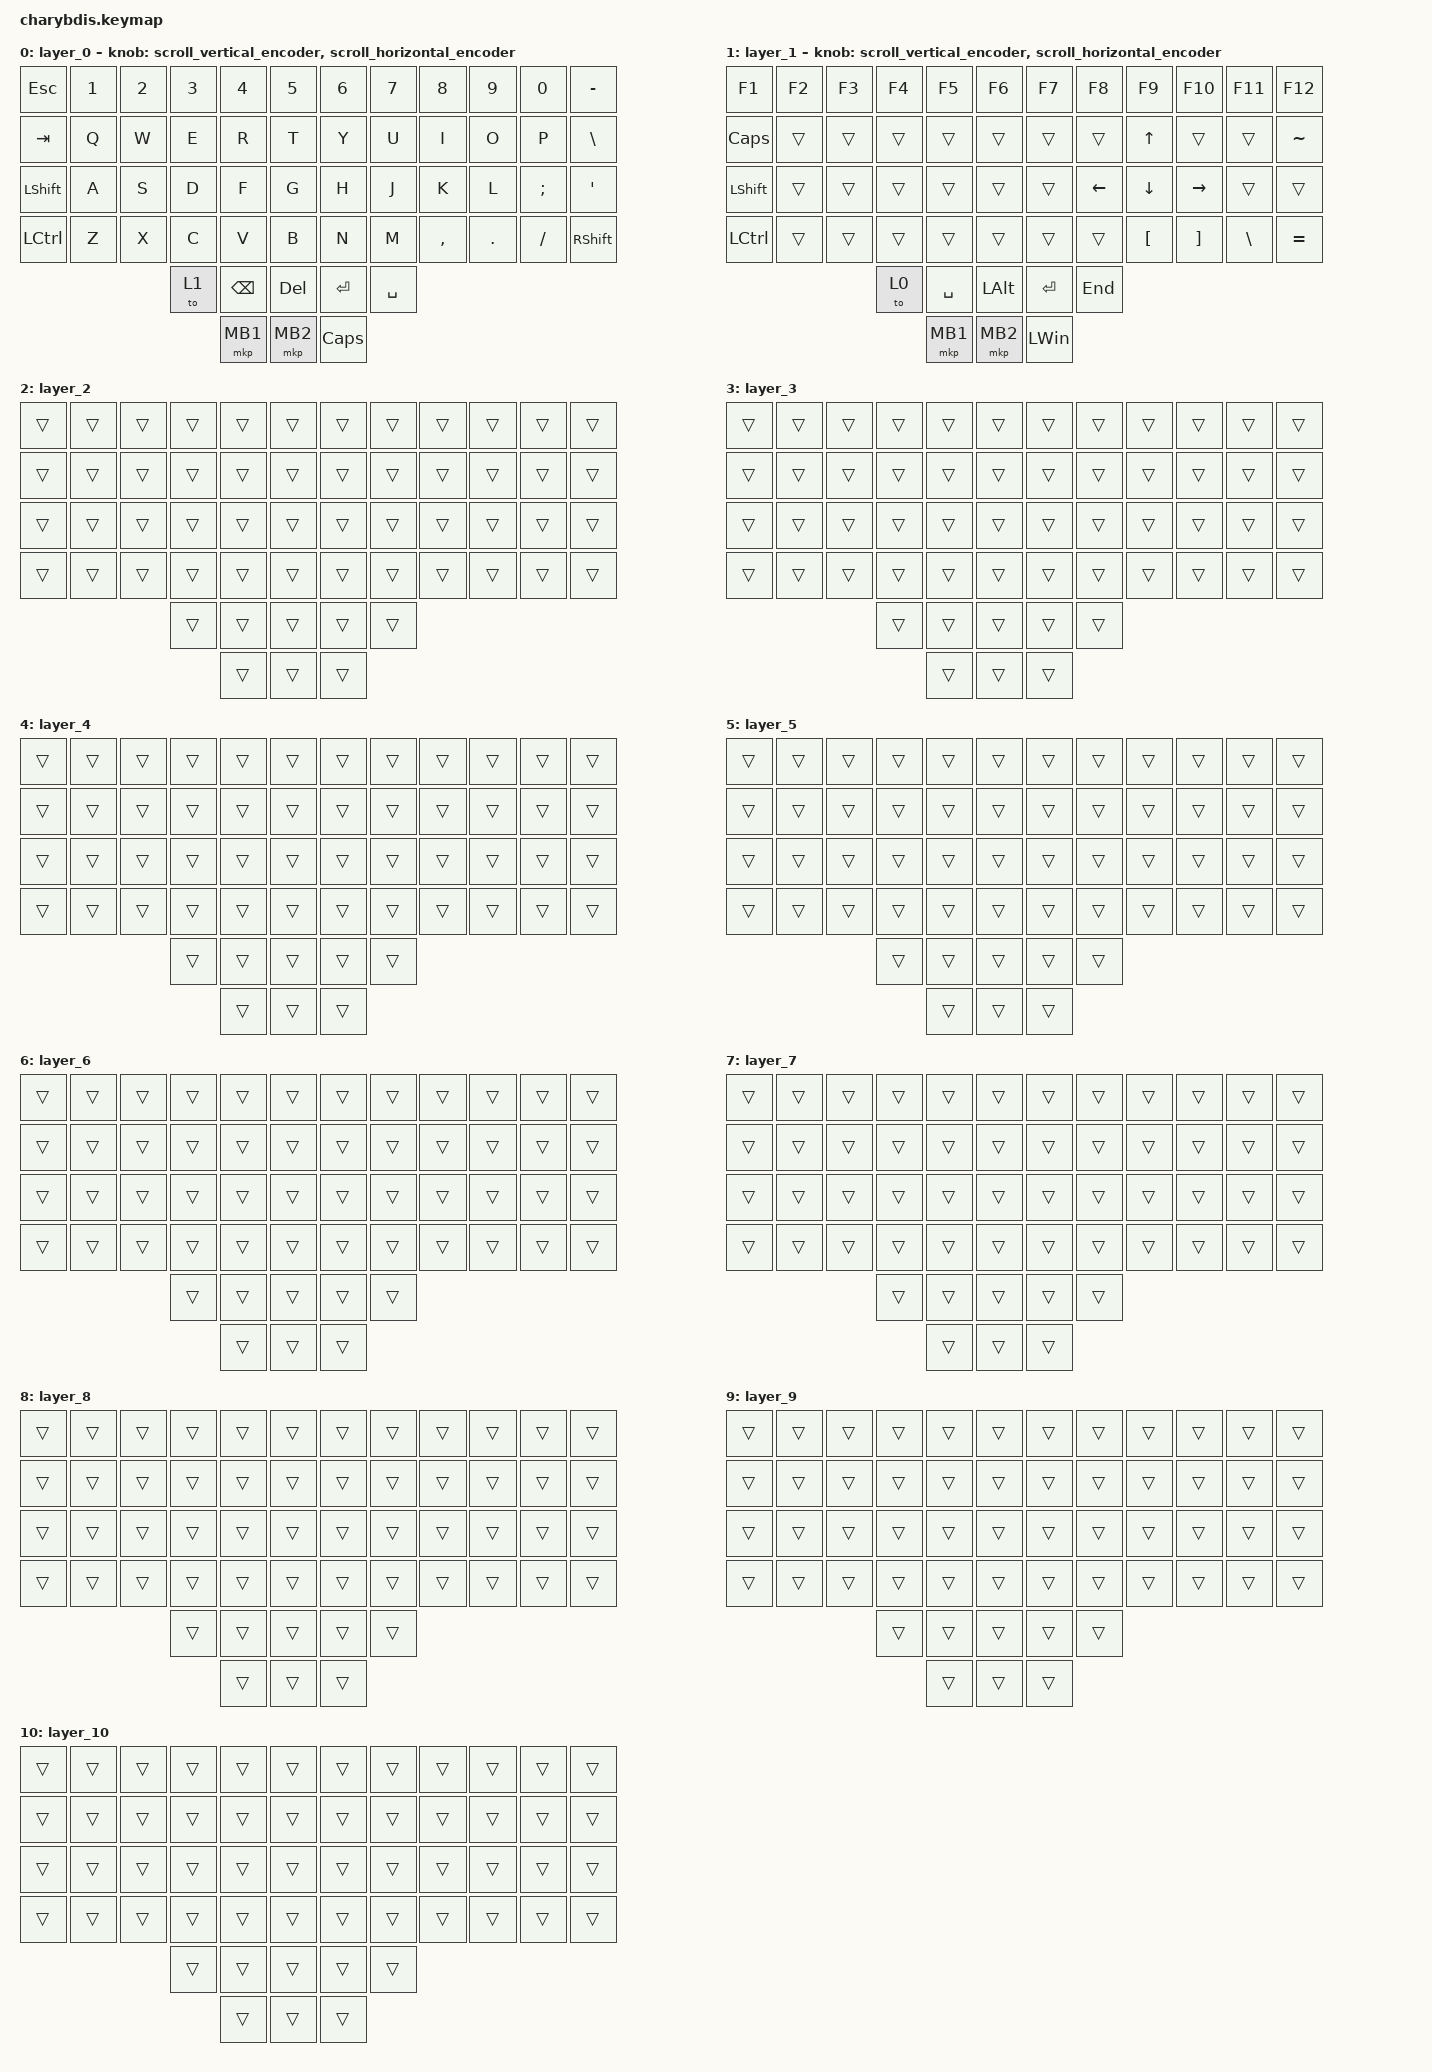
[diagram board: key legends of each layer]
#include <dt-bindings/zmk/mouse.h>
#include <input/processors.dtsi>
#include <zephyr/dt-bindings/input/input-event-codes.h>
#include <behaviors.dtsi>
#include <dt-bindings/zmk/bt.h>
#include <dt-bindings/zmk/keys.h>
#include <dt-bindings/zmk/pointing.h>
#include <dt-bindings/zmk/rgb.h>

#define ZMK_POINTING_DEFAULT_MOVE_VAL 1000 // 600
#define ZMK_POINTING_DEFAULT_SCRL_VAL 12   // 10

/ {
    combos {
        compatible = "zmk,combos";
        combo_mmb {
            timeout-ms = <50>;
            key-positions = <53 54>;
            bindings = <&mkp MB3>;
        };
    };
};

&lt {
    tapping-term-ms = <200>;
    flavor = "balanced";
    quick-tap-ms = <150>;
};

&mmv_input_listener { input-processors = <&zip_xy_scaler 2 1>; };

&msc_input_listener { input-processors = <&zip_scroll_scaler 2 1>; };

&msc {
    acceleration-exponent = <0>;      // 0
    time-to-max-speed-ms = <100>;       // 300
    delay-ms = <0>;                   // 0
};

&mmv {
    time-to-max-speed-ms = <500>;
    acceleration-exponent = <1>;
    trigger-period-ms = <16>;
};

/ {
    // 上下滚动编码器行为

    scroll_vertical_encoder: scroll_vertical_encoder {
        compatible = "zmk,behavior-sensor-rotate";
        #sensor-binding-cells = <0>;
        bindings = <&msc SCRL_DOWN>, <&msc SCRL_UP>;

        tap-ms = <100>;
    };

    // 左右滚动编码器行为

    scroll_horizontal_encoder: scroll_horizontal_encoder {
        compatible = "zmk,behavior-sensor-rotate";
        #sensor-binding-cells = <0>;
        bindings = <&msc SCRL_LEFT>, <&msc SCRL_RIGHT>;

        tap-ms = <100>;
    };

    behaviors {
    };

    macros {
        To1_macro: To1_macro {
            compatible = "zmk,behavior-macro";
            label = "To1_macro";
            #binding-cells = <0>;
            bindings = <&rgb_ug RGB_EFF &rgb_ug RGB_COLOR_HSB(128,100,50) &to 1>;
        };

        To1_macro_A: To1_macro_A {
            compatible = "zmk,behavior-macro";
            label = "To1_macro_A";
            #binding-cells = <0>;
            bindings = <&rgb_ug RGB_COLOR_HSB(128,100,50) &to 1>;
        };

        To0_macro: To0_macro {
            compatible = "zmk,behavior-macro";
            label = "To0_macro";
            #binding-cells = <0>;
            bindings = <&rgb_ug RGB_EFR &to 0>;
        };

        To2_macro_A: To2_macro_A {
            compatible = "zmk,behavior-macro";
            label = "To2_macro_A";
            #binding-cells = <0>;
            bindings = <&rgb_ug RGB_COLOR_HSB(250,100,50) &to 2>;
        };

        To2_macro: To2_macro {
            compatible = "zmk,behavior-macro";
            label = "To2_macro";
            #binding-cells = <0>;
            bindings = <&rgb_ug RGB_EFF &rgb_ug RGB_COLOR_HSB(250,100,50) &to 2>;
        };
    };

    keymap {
        compatible = "zmk,keymap";

        layer_0 {
            bindings = <
&kp ESC         &kp N1  &kp N2  &kp N3     &kp N4         &kp N5      &kp N6     &kp N7     &kp N8     &kp N9      &kp N0    &kp MINUS
&kp TAB         &kp Q   &kp W   &kp E      &kp R          &kp T       &kp Y      &kp U      &kp I      &kp O       &kp P     &kp BSLH
&kp LEFT_SHIFT  &kp A   &kp S   &kp D      &kp F          &kp G       &kp H      &kp J      &kp K      &kp L       &kp SEMI  &kp SQT
&kp LCTRL       &kp Z   &kp X   &kp C      &kp V          &kp B       &kp N      &kp M      &kp COMMA  &kp PERIOD  &kp FSLH  &kp RIGHT_SHIFT
                                &to 1      &kp BACKSPACE  &kp DEL     &kp ENTER  &kp SPACE
                                           &mkp MB1       &mkp MB2    &kp CAPS
            >;

            sensor-bindings =
                <&scroll_vertical_encoder>,
                // 编码器1：上下滚动,,
                <&scroll_horizontal_encoder>;

            // 编码器2：左右滚动
        };

        layer_1 {
            bindings = <
&kp F1          &kp F2  &kp F3  &kp F4  &kp F5     &kp F6           &kp F7     &kp F8     &kp F9            &kp F10            &kp F11     &kp F12
&kp CAPS        &trans  &trans  &trans  &trans     &trans           &trans     &trans     &kp UP            &trans             &trans      &kp TILDE
&kp LEFT_SHIFT  &trans  &trans  &trans  &trans     &trans           &trans     &kp LEFT   &kp DOWN          &kp RIGHT          &trans      &trans
&kp LCTRL       &trans  &trans  &trans  &trans     &trans           &trans     &trans     &kp LEFT_BRACKET  &kp RIGHT_BRACKET  &kp BSLH    &kp EQUAL
                                &to 0   &kp SPACE  &kp LEFT_ALT     &kp ENTER  &kp END
                                        &mkp MB1   &mkp MB2         &kp LWIN
            >;
            sensor-bindings =
                <&scroll_vertical_encoder>,
                // 编码器1：上下滚动,,
                <&scroll_horizontal_encoder>;

        };

        layer_2 {
            bindings = <
&trans  &trans  &trans  &trans  &trans  &trans    &trans  &trans  &trans  &trans  &trans  &trans
&trans  &trans  &trans  &trans  &trans  &trans     &trans  &trans  &trans  &trans  &trans  &trans
&trans  &trans  &trans  &trans  &trans  &trans     &trans  &trans  &trans  &trans  &trans  &trans
&trans  &trans  &trans  &trans  &trans  &trans    &trans  &trans  &trans  &trans  &trans  &trans
                        &trans  &trans  &trans    &trans  &trans
                                &trans  &trans    &trans
            >;
        };

        layer_3 {
            bindings = <
&trans  &trans  &trans  &trans  &trans  &trans    &trans  &trans  &trans  &trans  &trans  &trans
&trans  &trans  &trans  &trans  &trans  &trans    &trans  &trans  &trans  &trans  &trans  &trans
&trans  &trans  &trans  &trans  &trans  &trans    &trans  &trans  &trans  &trans  &trans  &trans
&trans  &trans  &trans  &trans  &trans  &trans    &trans  &trans  &trans  &trans  &trans  &trans
                        &trans  &trans  &trans    &trans  &trans
                                &trans  &trans    &trans
            >;
        };

        layer_4 {
            bindings = <
&trans  &trans  &trans  &trans  &trans  &trans    &trans  &trans  &trans  &trans  &trans  &trans
&trans  &trans  &trans  &trans  &trans  &trans    &trans  &trans  &trans  &trans  &trans  &trans
&trans  &trans  &trans  &trans  &trans  &trans    &trans  &trans  &trans  &trans  &trans  &trans
&trans  &trans  &trans  &trans  &trans  &trans    &trans  &trans  &trans  &trans  &trans  &trans
                        &trans  &trans  &trans    &trans  &trans
                                &trans  &trans    &trans
            >;
        };

        layer_5 {
            bindings = <
&trans  &trans  &trans  &trans  &trans  &trans    &trans  &trans  &trans  &trans  &trans  &trans
&trans  &trans  &trans  &trans  &trans  &trans    &trans  &trans  &trans  &trans  &trans  &trans
&trans  &trans  &trans  &trans  &trans  &trans    &trans  &trans  &trans  &trans  &trans  &trans
&trans  &trans  &trans  &trans  &trans  &trans    &trans  &trans  &trans  &trans  &trans  &trans
                        &trans  &trans  &trans    &trans  &trans
                                &trans  &trans    &trans
            >;
        };

        layer_6 {
            bindings = <
&trans  &trans  &trans  &trans  &trans  &trans    &trans  &trans  &trans  &trans  &trans  &trans
&trans  &trans  &trans  &trans  &trans  &trans    &trans  &trans  &trans  &trans  &trans  &trans
&trans  &trans  &trans  &trans  &trans  &trans    &trans  &trans  &trans  &trans  &trans  &trans
&trans  &trans  &trans  &trans  &trans  &trans    &trans  &trans  &trans  &trans  &trans  &trans
                        &trans  &trans  &trans    &trans  &trans
                                &trans  &trans    &trans
            >;
        };

        layer_7 {
            bindings = <
&trans  &trans  &trans  &trans  &trans  &trans    &trans  &trans  &trans  &trans  &trans  &trans
&trans  &trans  &trans  &trans  &trans  &trans    &trans  &trans  &trans  &trans  &trans  &trans
&trans  &trans  &trans  &trans  &trans  &trans    &trans  &trans  &trans  &trans  &trans  &trans
&trans  &trans  &trans  &trans  &trans  &trans    &trans  &trans  &trans  &trans  &trans  &trans
                        &trans  &trans  &trans    &trans  &trans
                                &trans  &trans    &trans
            >;
        };

        layer_8 {
            bindings = <
&trans  &trans  &trans  &trans  &trans  &trans    &trans  &trans  &trans  &trans  &trans  &trans
&trans  &trans  &trans  &trans  &trans  &trans    &trans  &trans  &trans  &trans  &trans  &trans
&trans  &trans  &trans  &trans  &trans  &trans    &trans  &trans  &trans  &trans  &trans  &trans
&trans  &trans  &trans  &trans  &trans  &trans    &trans  &trans  &trans  &trans  &trans  &trans
                        &trans  &trans  &trans    &trans  &trans
                                &trans  &trans    &trans
            >;
        };

        layer_9 {
            bindings = <
&trans  &trans  &trans  &trans  &trans  &trans    &trans  &trans  &trans  &trans  &trans  &trans
&trans  &trans  &trans  &trans  &trans  &trans    &trans  &trans  &trans  &trans  &trans  &trans
&trans  &trans  &trans  &trans  &trans  &trans    &trans  &trans  &trans  &trans  &trans  &trans
&trans  &trans  &trans  &trans  &trans  &trans    &trans  &trans  &trans  &trans  &trans  &trans
                        &trans  &trans  &trans    &trans  &trans
                                &trans  &trans    &trans
            >;
        };

        layer_10 {
            bindings = <
&trans  &trans  &trans  &trans  &trans  &trans    &trans  &trans  &trans  &trans  &trans  &trans
&trans  &trans  &trans  &trans  &trans  &trans    &trans  &trans  &trans  &trans  &trans  &trans
&trans  &trans  &trans  &trans  &trans  &trans    &trans  &trans  &trans  &trans  &trans  &trans
&trans  &trans  &trans  &trans  &trans  &trans    &trans  &trans  &trans  &trans  &trans  &trans
                        &trans  &trans  &trans    &trans  &trans
                                &trans  &trans    &trans
            >;
        };

        /* layer_2 {
            bindings = <
&trans  &trans   &trans    &trans   &trans         &trans         &kp N1         &trans         &trans     &trans  &trans   &to 0
&trans  &trans   &trans    &trans   &trans         &trans         &trans         &trans          &rgb_ug RGB_BRD &rgb_ug RGB_BRI  &rgb_ug RGB_EFF   &rgb_ug RGB_TOG
&trans  &trans   &trans    &trans   &trans         &trans         &trans         &mkp LCLK     &mkp RCLK  &trans  &trans   &trans
&trans  &trans   &trans    &trans   &bt BT_NXT  &bt BT_CLR    &trans         &trans         &trans     &trans  &trans   &trans
                                   &trans         &trans         &trans         &trans         &trans
                                                 &trans         &trans         &trans
            >;
       
            
        };

       Mouse {
            bindings = <
&trans        &trans         &trans         &trans         &trans      &trans         &trans       &trans      &trans         &trans         &trans         &trans
&trans        &bt BT_SEL 0  &bt BT_SEL 1  &bt BT_SEL 3  &trans      &bt BT_CLR    &bt BT_CLR  &trans      &bt BT_SEL 2  &bt BT_SEL 1  &bt BT_SEL 0  &trans
&trans        &trans        &trans        &mkp MCLK     &trans     &trans         &trans       &trans     &mkp MCLK     &trans        &trans        &trans
&bootloader  &trans        &mkp RCLK     &mo 4         &mkp LCLK  &mo 5         &mo 5       &mkp LCLK  &mo 4         &mkp RCLK     &trans        &bootloader
                                         &mo 5         &mkp LCLK  &mkp RCLK     &mkp RCLK   &mkp LCLK
                                                       &trans      &trans        &trans
            >;

            
        };

        layer_4 {
            bindings = <
&trans  &trans  &trans     &trans     &trans     &trans       &trans     &trans     &trans     &trans     &trans  &trans
&trans  &trans  &trans     &trans     &trans     &trans       &trans     &trans     &trans     &trans     &trans  &trans
&trans  &trans  &trans     &mkp MCLK  &trans     &trans       &trans     &trans     &mkp MCLK  &trans     &trans  &trans
&trans  &trans  &mkp RCLK  &trans     &mkp LCLK  &trans       &trans     &mkp LCLK  &trans     &mkp RCLK  &trans  &trans
                           &trans     &mkp LCLK  &mkp RCLK    &mkp RCLK  &mkp LCLK
                                      &trans     &trans       &trans
            >;
                
                
               
        };

        layer_5 {
            bindings = <
&trans  &trans  &trans     &trans     &trans     &trans       &trans     &trans     &trans     &trans     &trans  &trans
&trans  &trans  &trans     &trans     &trans     &trans       &trans     &trans     &trans     &trans     &trans  &trans
&trans  &trans  &trans     &mkp MCLK  &trans     &trans       &trans     &trans     &mkp MCLK  &trans     &trans  &trans
&trans  &trans  &mkp RCLK  &trans     &mkp LCLK  &trans       &trans     &mkp LCLK  &trans     &mkp RCLK  &trans  &trans
                           &trans     &mkp LCLK  &mkp RCLK    &mkp RCLK  &mkp LCLK
                                      &trans     &trans       &trans
            >;
                
                
        };*/
    };
};
